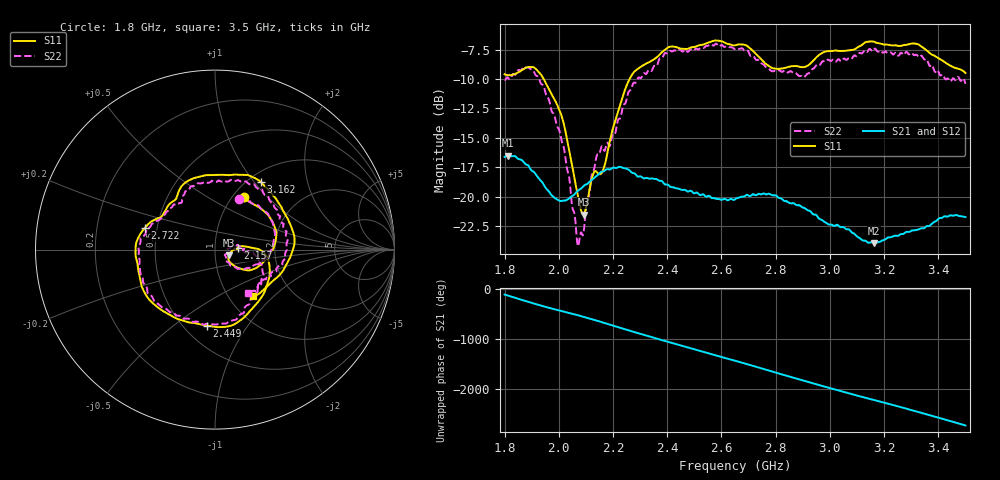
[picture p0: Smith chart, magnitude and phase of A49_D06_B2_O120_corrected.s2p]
! Created with skrf 1.9.0 (http://scikit-rf.org).
# Hz S RI R 50.0
!freq ReS11 ImS11 ReS21 ImS21 ReS12 ImS12 ReS22 ImS22
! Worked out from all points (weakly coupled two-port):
!   1601 points, 1.8 GHz to 3.5 GHz, reference 50 ohm
!   highest |S21| = -16.51 dB at 1.814 GHz (marker M1); lowest = -23.9 dB at 3.163 GHz (marker M2)
!   lowest |S11| = -21.5 dB at 2.091 GHz (marker M3), VSWR 1.18, Z = 58.3 - j3.67 ohm
!   |S11| at or under -10 dB: 1.944 GHz to 2.261 GHz (316.9 MHz wide, 15.1 % of centre)
!   |S22| runs from -24.2 to -7.0 dB; largest |S21 - S12| = 0.0025
!   S11 on the Smith chart (normalised r, x): 1.8 GHz: 1.13, +0.73; 2.157 GHz: 1.29, +0.02; 2.449 GHz: 0.65, -0.67; 2.722 GHz: 0.43, +0.12; 3.162 GHz: 1.13, +1.08; 3.5 GHz: 1.29, -0.75
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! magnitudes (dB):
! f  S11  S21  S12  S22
! 1.8 GHz  -9.6  -16.6  -16.6  -10.1
! 1.814 GHz  -9.7  -16.5  -16.5  -9.9
! 1.882 GHz  -9.0  -17.3  -17.3  -9.0
! 1.942 GHz  -9.9  -18.9  -18.9  -10.5
! 2.013 GHz  -13.3  -20.3  -20.3  -15.4
! 2.068 GHz  -19.6  -19.5  -19.5  -23.9
! 2.084 GHz  -21.3  -19.3  -19.2  -23.0
! 2.091 GHz  -21.5  -19.1  -19.1  -23.1
! 2.127 GHz  -18.0  -18.5  -18.5  -17.8
! 2.157 GHz  -18.0  -17.9  -17.9  -15.8
! 2.191 GHz  -15.0  -17.7  -17.7  -15.5
! 2.259 GHz  -10.1  -17.7  -17.7  -11.0
! 2.367 GHz  -8.0  -18.6  -18.5  -8.5
! 2.449 GHz  -7.4  -19.4  -19.4  -7.5
! 2.65 GHz  -7.1  -20.2  -20.2  -7.4
! 2.722 GHz  -7.8  -19.8  -19.8  -8.2
! 2.797 GHz  -9.1  -19.9  -19.9  -9.3
! 2.934 GHz  -8.6  -21.4  -21.3  -9.2
! 3.162 GHz  -6.8  -23.9  -23.9  -7.5
! 3.163 GHz  -6.8  -23.9  -23.9  -7.5
! 3.217 GHz  -7.1  -23.4  -23.4  -7.8
! 3.5 GHz  -9.5  -21.7  -21.7  -10.4
